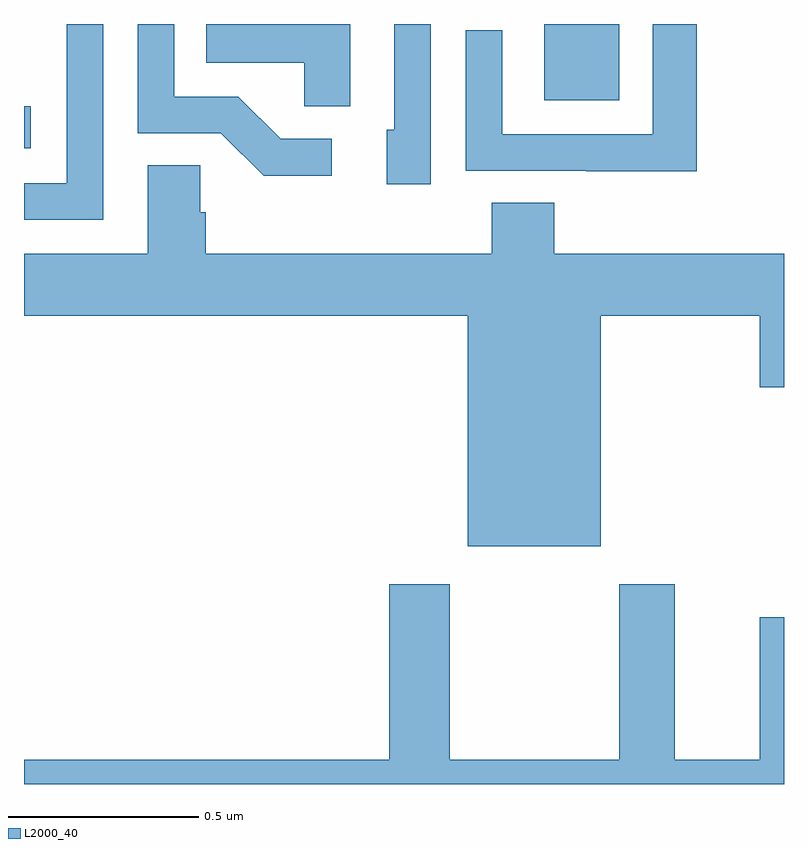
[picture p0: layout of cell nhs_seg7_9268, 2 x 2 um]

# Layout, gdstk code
import gdstk
lib = gdstk.Library(unit=1e-6, precision=1e-09)
def R(c, l, rs):  # rectangles x0, y0, x1, y1
    for r in rs: c.add(gdstk.rectangle(r[:2], r[2:], *l))
def P(c, l, *ps):  # polygons
    for p in ps: c.add(gdstk.Polygon(p, *l))
L2000_40 = (2000, 40)

nhs_seg7_9268 = lib.new_cell('nhs_seg7_9268')
R(nhs_seg7_9268, L2000_40, [(235,1051.673,235.018,1051.783), (236.369,1051.799,236.566,1052)])
P(nhs_seg7_9268, L2000_40, [(235.209,1052),(235.113,1052),(235.113,1051.581),(235,1051.581),(235,1051.485),(235.209,1051.485)],
  [(236.07,1052),(235.974,1052),(235.974,1051.722),(235.955,1051.722),(235.955,1051.578),(236.07,1051.578)],
  [(235.81,1051.698),(235.675,1051.698),(235.564,1051.809),(235.395,1051.809),(235.395,1052),(235.299,1052),(235.299,1051.713),(235.518,1051.713),(235.631,1051.601),(235.81,1051.601)],
  [(235.858,1052),(235.48,1052),(235.48,1051.898),(235.737,1051.898),(235.737,1051.783),(235.858,1051.783)],
  [(236.771,1052),(236.655,1052),(236.655,1051.71),(236.259,1051.71),(236.259,1051.984),(236.163,1051.984),(236.163,1051.614),(236.479,1051.614),(236.479,1051.613),(236.771,1051.613)],
  [(236.518,1051.232),(236.936,1051.232),(236.936,1051.044),(237,1051.044),(237,1051.396),(236.396,1051.396),(236.396,1051.529),(236.231,1051.529),(236.231,1051.396),(235.478,1051.396),(235.478,1051.505),(235.464,1051.505),(235.464,1051.628),(235.325,1051.628),(235.325,1051.396),(235,1051.396),(235,1051.232),(236.168,1051.232),(236.168,1050.626),(236.518,1050.626)],
  [(237,1050.439),(236.936,1050.439),(236.936,1050.064),(236.713,1050.064),(236.713,1050.526),(236.566,1050.526),(236.566,1050.064),(236.121,1050.064),(236.121,1050.526),(235.961,1050.526),(235.961,1050.064),(235,1050.064),(235,1050),(237,1050)])

lib.write_gds('nhs_seg7_9268.gds')
